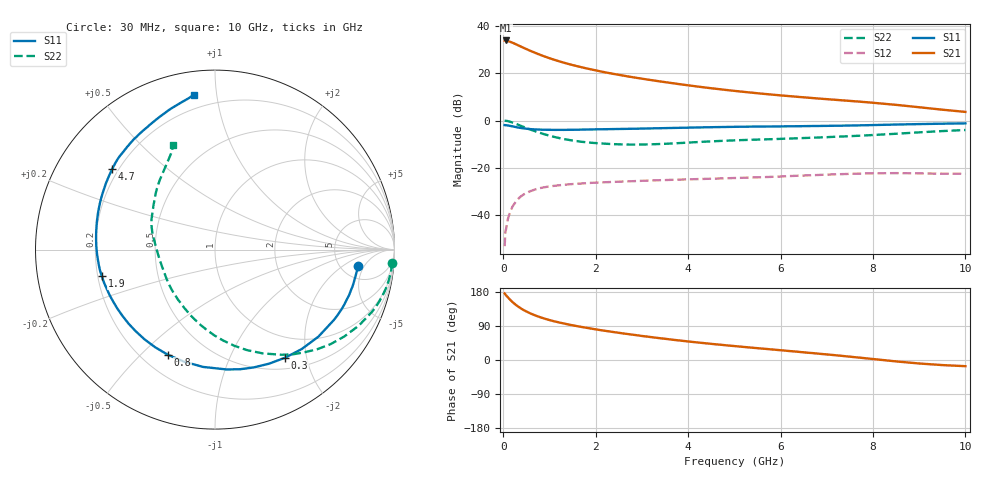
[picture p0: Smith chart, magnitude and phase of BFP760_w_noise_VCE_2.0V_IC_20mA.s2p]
! Infineon Technologies  Discrete & RF Semiconductors
! BFP760
! VCE =  2.0 V,  IC =  20 mA
! Common Emitter S-Parameters:  Nov 2012
# GHz  S  MA  R  50
!  f  S11  S21  S12  S22
! GHz  MAG  ANG  MAG  ANG  MAG  ANG  MAG  ANG
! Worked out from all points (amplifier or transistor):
!   99 points, 30 MHz to 10 GHz, reference 50 ohm
!   highest |S21| = 33.9 dB at 50 MHz (marker M1)
!   |S21| within 3 dB of that: start of sweep to 428.2 MHz
!   unconditionally stable (mu >= 1): 4.673 GHz to end of sweep
!   at 350 MHz: K = 0.21, MSG = 32.1 dB, |S12| = -32.6 dB
!   at 3.5 GHz: K = 0.86, MSG = 20.7 dB, |S12| = -25.2 dB
!   at 10 GHz: K = 1.11, MAG = 11.1 dB, |S12| = -22.5 dB
!   lowest NFmin = 0.63 dB at 900 MHz
!   S11 on the Smith chart (normalised r, x): 30 MHz: 7.18, -3.63; 300 MHz: 0.66, -1.64; 800 MHz: 0.30, -0.61; 1.9 GHz: 0.22, -0.11; 4.7 GHz: 0.18, +0.34; 10 GHz: 0.12, +0.87
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0.03  0.8009 -6.5  49.02 175.7  0.0022 80.5  0.9902 -4.3
0.05  0.7968 -10.6  49.36 172.3  0.0047 80.1  0.9885 -7.3
0.1  0.7848 -20.9  47.98 165.4  0.0082 78.9  0.9704 -14.6
0.15  0.769 -30.9  46.25 158.9  0.0116 74.4  0.9412 -21.6
0.2  0.7531 -40.1  44.14 153.1  0.0151 70.1  0.9061 -27.9
0.25  0.7352 -48.9  42.14 147.8  0.0179 66.6  0.8679 -33.9
0.3  0.7179 -57.0  39.97 143.0  0.0207 63.4  0.8319 -39.3
0.4  0.6909 -71.9  36.02 134.8  0.0256 56.8  0.7583 -49.0
0.5  0.6709 -84.5  32.45 128.1  0.0294 51.8  0.694 -57.6
0.6  0.657 -95.8  29.4 122.3  0.0324 47.7  0.6373 -65.2
0.8  0.6422 -114.0  24.5 112.9  0.0372 41.4  0.5462 -78.7
1  0.6357 -128.2  20.82 105.4  0.0404 36.6  0.4781 -90.4
1.2  0.6342 -139.5  18.01 99.3  0.0426 33.2  0.4282 -100.7
1.7  0.6417 -160.3  13.35 87.1  0.0466 28.2  0.3544 -122.4
1.9  0.6476 -166.7  12.07 82.9  0.048 26.9  0.3387 -130.3
2.6  0.6644 175.5  8.896 70.0  0.0514 23.9  0.3114 -153.7
3.4  0.6876 159.9  6.698 57.4  0.0547 21.9  0.319 -175.7
4.7  0.7275 141.9  4.572 40.3  0.0595 20.0  0.37 161.9
5.1  0.7376 138.2  4.139 35.7  0.0612 19.6  0.3838 157.4
6.7  0.7647 125.6  2.984 18.2  0.0698 17.2  0.4332 141.4
8.5  0.822 107.6  2.144 -3.7  0.0772 8.3  0.5249 122.9
10  0.8706 97.8  1.522 -16.3  0.0747 4.6  0.6305 111.9
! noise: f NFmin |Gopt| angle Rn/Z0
0.9  0.63  0.08  43  0.09
1.8  0.67  0.06  168  0.08
2.4  0.72  0.08  -178  0.08
3.5  0.83  0.12  -153  0.09
5.5  1.06  0.26  -120  0.11
8  1.37  0.38  -84  0.32
